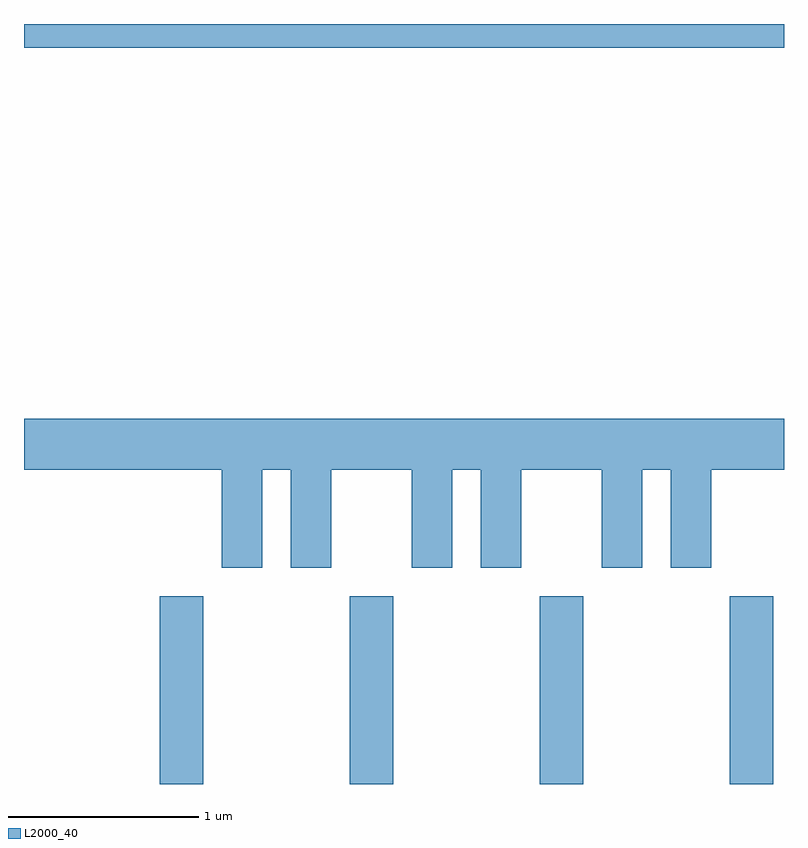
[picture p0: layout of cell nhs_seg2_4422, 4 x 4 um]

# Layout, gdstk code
import gdstk
lib = gdstk.Library(unit=1e-6, precision=1e-09)
def R(c, l, rs):  # rectangles x0, y0, x1, y1
    for r in rs: c.add(gdstk.rectangle(r[:2], r[2:], *l))
def A(c, l, x, y, w, h, nx, ny, dx, dy):  # array of equal rectangles
    R(c, l, [(x+i*dx, y+j*dy, x+i*dx+w, y+j*dy+h) for i in range(nx) for j in range(ny)])
def P(c, l, *ps):  # polygons
    for p in ps: c.add(gdstk.Polygon(p, *l))
L2000_40 = (2000, 40)

nhs_seg2_4422 = lib.new_cell('nhs_seg2_4422')
A(nhs_seg2_4422, L2000_40, 316.326, 1017.802, 0.228, 0.987, 4, 1, 1, 0)
R(nhs_seg2_4422, L2000_40, [(315.611,1021.676,319.611,1021.802)])
P(nhs_seg2_4422, L2000_40, [(316.864,1019.456),(317.016,1019.456),(317.016,1018.941),(317.229,1018.941),(317.229,1019.456),(317.651,1019.456),(317.651,1018.941),(317.864,1018.941),(317.864,1019.456),(318.016,1019.456),(318.016,1018.941),(318.229,1018.941),(318.229,1019.456),(318.651,1019.456),(318.651,1018.941),(318.864,1018.941),(318.864,1019.456),(319.016,1019.456),(319.016,1018.941),(319.229,1018.941),(319.229,1019.456),(319.611,1019.456),(319.611,1019.724),(315.611,1019.724),(315.611,1019.456),(316.651,1019.456),(316.651,1018.941),(316.864,1018.941)])

lib.write_gds('nhs_seg2_4422.gds')
